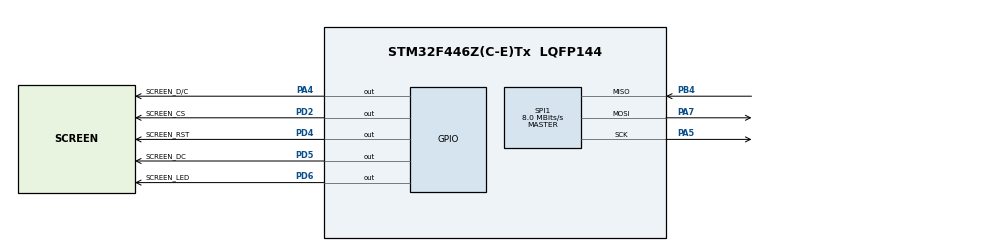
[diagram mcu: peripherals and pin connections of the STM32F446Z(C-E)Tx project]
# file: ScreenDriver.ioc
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Mcu.Family=STM32F4
Mcu.Name=STM32F446Z(C-E)Tx
Mcu.Package=LQFP144
NVIC.PriorityGroup=NVIC_PRIORITYGROUP_4
PA4.GPIO_Label=SCREEN_D/C
PA4.Signal=GPIO_Output
PA5.Mode=Full_Duplex_Master
PA5.Signal=SPI1_SCK
PA7.Mode=Full_Duplex_Master
PA7.Signal=SPI1_MOSI
PB4.Mode=Full_Duplex_Master
PB4.Signal=SPI1_MISO
PD2.GPIO_Label=SCREEN_CS
PD2.PinState=GPIO_PIN_SET
PD2.Signal=GPIO_Output
PD4.GPIO_Label=SCREEN_RST
PD4.Signal=GPIO_Output
PD5.GPIO_Label=SCREEN_DC
PD5.Signal=GPIO_Output
PD6.GPIO_Label=SCREEN_LED
PD6.PinState=GPIO_PIN_SET
PD6.Signal=GPIO_Output
ProjectManager.HeapSize=0x200
ProjectManager.StackSize=0x400
ProjectManager.TargetToolchain=CMake
RCC.CortexFreq_Value=16000000
RCC.USBFreq_Value=96000000
RCC.VCOOutputFreq_Value=192000000
SPI1.CalculateBaudRate=8.0 MBits/s
SPI1.Direction=SPI_DIRECTION_2LINES
SPI1.Mode=SPI_MODE_MASTER
SPI1.VirtualType=VM_MASTER
board=custom

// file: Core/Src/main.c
/* USER CODE BEGIN Header */
/**
  ******************************************************************************
  * @file           : main.c
  * @brief          : Main program body
  ******************************************************************************
  * @attention
  *
  * Copyright (c) 2026 STMicroelectronics.
  * All rights reserved.
  *
  * This software is licensed under terms that can be found in the LICENSE file
  * in the root directory of this software component.
  * If no LICENSE file comes with this software, it is provided AS-IS.
  *
  ******************************************************************************
  */
/* USER CODE END Header */
#include "main.h"

/* USER CODE BEGIN Includes */
#include "TFT_Screen.h"
#include "TOUCH_Screen.h"
/* USER CODE END Includes */

SPI_HandleTypeDef hspi1;

void SystemClock_Config(void);
static void MX_GPIO_Init(void);
static void MX_SPI1_Init(void);

int main(void)
{

  /* MCU Configuration--------------------------------------------------------*/

  /* Reset of all peripherals, Initializes the Flash interface and the Systick. */
  HAL_Init();

  /* Configure the system clock */
  SystemClock_Config();

  /* Initialize all configured peripherals */
  MX_GPIO_Init();
  MX_SPI1_Init();
  /* USER CODE BEGIN 2 */
  // Turn ON the LED on PD6
  HAL_GPIO_WritePin(SCREEN_LED_GPIO_Port, SCREEN_LED_Pin, GPIO_PIN_SET);
  __HAL_SPI_ENABLE(&hspi1);
  Screen_Init();
  uint16_t sizeBox = SCREEN_WIDTH>SCREEN_HEIGHT ? SCREEN_HEIGHT / 10 : SCREEN_WIDTH / 10;
  Screen_FillScreen(COLOR_PURPLE);
  Screen_DrawCircle(sizeBox, SCREEN_HEIGHT-sizeBox, 2*sizeBox, COLOR_CYAN);
  Screen_FillCircle(SCREEN_WIDTH-sizeBox, sizeBox, 2*sizeBox, COLOR_WHITE);

  Screen_FillRectangle(2+sizeBox*1, 2+sizeBox*1, sizeBox, sizeBox, COLOR_BLACK);
	Screen_FillRectangle(2+sizeBox*2, 2+sizeBox*2, sizeBox, sizeBox, COLOR_RED);
	Screen_FillRectangle(2+sizeBox*3, 2+sizeBox*3, sizeBox, sizeBox, COLOR_CYAN);
	Screen_FillRectangle(2+sizeBox*4, 2+sizeBox*4, sizeBox, sizeBox, COLOR_MAGENTA);
	Screen_FillRectangle(2+sizeBox*6, 2+sizeBox*6, sizeBox, sizeBox, COLOR_BLUE);
	Screen_FillRectangle(2+sizeBox*7, 2+sizeBox*7, sizeBox, sizeBox, COLOR_YELLOW);
	Screen_FillRectangle(2+sizeBox*8, 2+sizeBox*8, sizeBox, sizeBox, COLOR_PINK);
	Screen_WriteString(2, 2+sizeBox*9, "Hello!", Font_11x18, COLOR_WHITE, COLOR_PURPLE);

  /* USER CODE END 2 */

  /* Infinite loop */
  while (1)
  {

  }
}

void SystemClock_Config(void)
{
  RCC_OscInitTypeDef RCC_OscInitStruct = {0};
  RCC_ClkInitTypeDef RCC_ClkInitStruct = {0};

  /** Configure the main internal regulator output voltage
  */
  __HAL_RCC_PWR_CLK_ENABLE();
  __HAL_PWR_VOLTAGESCALING_CONFIG(PWR_REGULATOR_VOLTAGE_SCALE3);

  /** Initializes the RCC Oscillators according to the specified parameters
  * in the RCC_OscInitTypeDef structure.
  */
  RCC_OscInitStruct.OscillatorType = RCC_OSCILLATORTYPE_HSI;
  RCC_OscInitStruct.HSIState = RCC_HSI_ON;
  RCC_OscInitStruct.HSICalibrationValue = RCC_HSICALIBRATION_DEFAULT;
  RCC_OscInitStruct.PLL.PLLState = RCC_PLL_NONE;
  if (HAL_RCC_OscConfig(&RCC_OscInitStruct) != HAL_OK)
  {
    Error_Handler();
  }

  /** Initializes the CPU, AHB and APB buses clocks
  */
  RCC_ClkInitStruct.ClockType = RCC_CLOCKTYPE_HCLK|RCC_CLOCKTYPE_SYSCLK
                              |RCC_CLOCKTYPE_PCLK1|RCC_CLOCKTYPE_PCLK2;
  RCC_ClkInitStruct.SYSCLKSource = RCC_SYSCLKSOURCE_HSI;
  RCC_ClkInitStruct.AHBCLKDivider = RCC_SYSCLK_DIV1;
  RCC_ClkInitStruct.APB1CLKDivider = RCC_HCLK_DIV1;
  RCC_ClkInitStruct.APB2CLKDivider = RCC_HCLK_DIV1;

  if (HAL_RCC_ClockConfig(&RCC_ClkInitStruct, FLASH_LATENCY_0) != HAL_OK)
  {
    Error_Handler();
  }
}

static void MX_SPI1_Init(void)
{

  /* SPI1 parameter configuration*/
  hspi1.Instance = SPI1;
  hspi1.Init.Mode = SPI_MODE_MASTER;
  hspi1.Init.Direction = SPI_DIRECTION_2LINES;
  hspi1.Init.DataSize = SPI_DATASIZE_8BIT;
  hspi1.Init.CLKPolarity = SPI_POLARITY_LOW;
  hspi1.Init.CLKPhase = SPI_PHASE_1EDGE;
  hspi1.Init.NSS = SPI_NSS_SOFT;
  hspi1.Init.BaudRatePrescaler = SPI_BAUDRATEPRESCALER_2;
  hspi1.Init.FirstBit = SPI_FIRSTBIT_MSB;
  hspi1.Init.TIMode = SPI_TIMODE_DISABLE;
  hspi1.Init.CRCCalculation = SPI_CRCCALCULATION_DISABLE;
  hspi1.Init.CRCPolynomial = 10;
  if (HAL_SPI_Init(&hspi1) != HAL_OK)
  {
    Error_Handler();
  }

}

static void MX_GPIO_Init(void)
{
  GPIO_InitTypeDef GPIO_InitStruct = {0};

  /* GPIO Ports Clock Enable */
  __HAL_RCC_GPIOA_CLK_ENABLE();
  __HAL_RCC_GPIOD_CLK_ENABLE();
  __HAL_RCC_GPIOB_CLK_ENABLE();

  /*Configure GPIO pin Output Level */
  HAL_GPIO_WritePin(SCREEN_D_C_GPIO_Port, SCREEN_D_C_Pin, GPIO_PIN_RESET);

  /*Configure GPIO pin Output Level */
  HAL_GPIO_WritePin(GPIOD, SCREEN_CS_Pin|SCREEN_LED_Pin, GPIO_PIN_SET);

  /*Configure GPIO pin Output Level */
  HAL_GPIO_WritePin(GPIOD, SCREEN_RST_Pin, GPIO_PIN_RESET);

  /*Configure GPIO pin : SCREEN_D_C_Pin */
  GPIO_InitStruct.Pin = SCREEN_D_C_Pin;
  GPIO_InitStruct.Mode = GPIO_MODE_OUTPUT_PP;
  GPIO_InitStruct.Pull = GPIO_NOPULL;
  GPIO_InitStruct.Speed = GPIO_SPEED_FREQ_LOW;
  HAL_GPIO_Init(SCREEN_D_C_GPIO_Port, &GPIO_InitStruct);

  /*Configure GPIO pins : SCREEN_CS_Pin SCREEN_RST_Pin SCREEN_LED_Pin */
  GPIO_InitStruct.Pin = SCREEN_CS_Pin|SCREEN_RST_Pin|SCREEN_LED_Pin;
  GPIO_InitStruct.Mode = GPIO_MODE_OUTPUT_PP;
  GPIO_InitStruct.Pull = GPIO_NOPULL;
  GPIO_InitStruct.Speed = GPIO_SPEED_FREQ_LOW;
  HAL_GPIO_Init(GPIOD, &GPIO_InitStruct);

}

void Error_Handler(void)
{
  __disable_irq();
  while (1)
  {
  }
}
